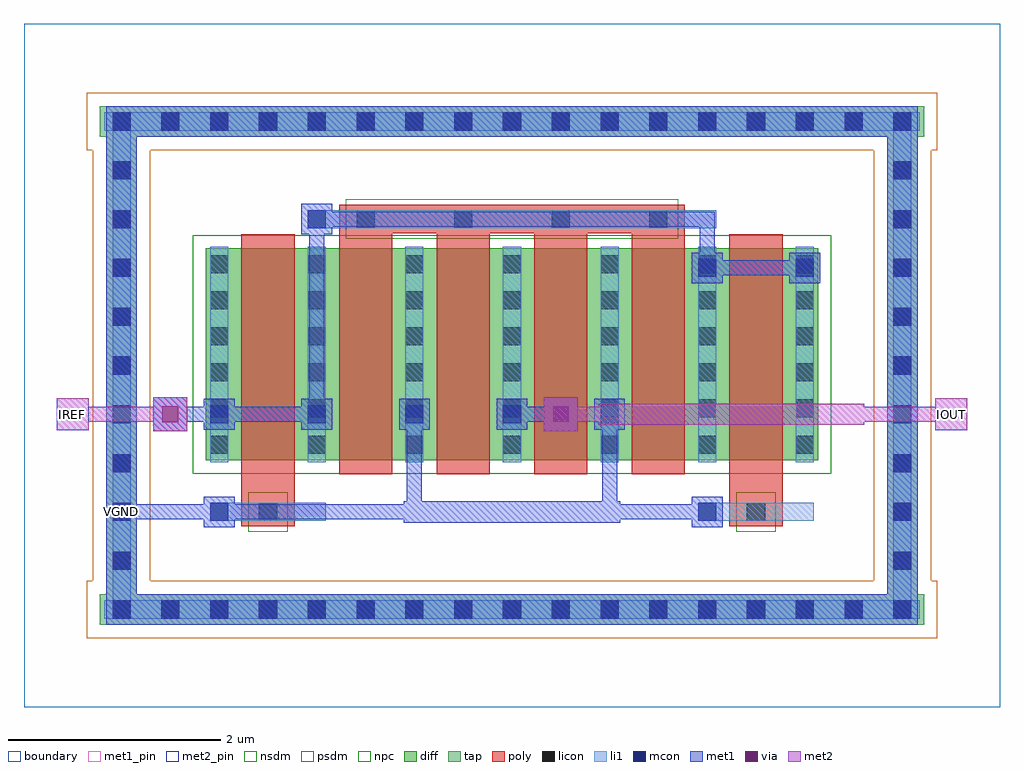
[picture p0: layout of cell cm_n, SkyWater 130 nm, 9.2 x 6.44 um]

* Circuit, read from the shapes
.subckt cm_n IOUT IREF VGND
XM1 IREF VGND IREF VGND sky130_fd_pr__nfet_01v8 w=2 l=0.5 m=2
XM2 VGND IREF IREF VGND sky130_fd_pr__nfet_01v8 w=2 l=0.5 m=2
XM3 IOUT IREF VGND VGND sky130_fd_pr__nfet_01v8 w=2 l=0.5 m=2
.ends

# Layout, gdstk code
import gdstk
lib = gdstk.Library(unit=1e-6, precision=1e-09)
def R(c, l, rs):  # rectangles x0, y0, x1, y1
    for r in rs: c.add(gdstk.rectangle(r[:2], r[2:], *l))
def A(c, l, x, y, w, h, nx, ny, dx, dy):  # array of equal rectangles
    R(c, l, [(x+i*dx, y+j*dy, x+i*dx+w, y+j*dy+h) for i in range(nx) for j in range(ny)])
diff = (65, 20)
tap = (65, 44)
poly = (66, 20)
licon = (66, 44)
li1 = (67, 20)
mcon = (67, 44)
met1_pin = (68, 16)
met1 = (68, 20)
via = (68, 44)
met2_pin = (69, 16)
met2 = (69, 20)
nsdm = (93, 44)
psdm = (94, 20)
npc = (95, 20)
boundary = (235, 4)

cm_n = lib.new_cell('cm_n')
R(cm_n, diff, [(1.715,2.325,7.485,4.325)])
R(cm_n, tap, [(0.715,0.775,8.485,1.065), (0.775,0.775,1.065,5.665), (8.135,0.775,8.425,5.665), (0.715,5.375,8.485,5.665)])
A(cm_n, poly, 2.97, 2.195, 0.5, 2.405, 4, 1, 0.92, 0)
R(cm_n, poly, [(2.05,1.705,2.55,1.975), (6.65,1.705,7.15,1.975), (2.05,1.84,2.55,4.455), (6.65,1.84,7.15,4.455), (2.97,4.465,6.23,4.735)])
A(cm_n, licon, 0.835, 0.835, 0.17, 0.17, 17, 2, 0.46, 4.6)
A(cm_n, licon, 0.835, 1.295, 0.17, 0.17, 1, 9, 0, 0.46)
A(cm_n, licon, 8.195, 1.295, 0.17, 0.17, 1, 9, 0, 0.46)
A(cm_n, licon, 1.755, 2.39, 0.17, 0.17, 7, 6, 0.92, 0.34)
A(cm_n, licon, 3.135, 4.515, 0.17, 0.17, 4, 1, 0.92, 0)
R(cm_n, licon, [(2.215,1.755,2.385,1.925), (6.815,1.755,6.985,1.925)])
A(cm_n, li1, 1.755, 2.31, 0.17, 2.03, 7, 1, 0.92, 0)
R(cm_n, li1, [(0.755,0.835,8.445,1.005), (0.835,0.835,1.005,5.605), (8.195,0.835,8.365,5.605), (1.755,1.755,2.845,1.925), (6.355,1.755,7.445,1.925), (2.675,4.515,6.525,4.685), (0.755,5.435,8.445,5.605)])
A(cm_n, mcon, 0.835, 0.835, 0.17, 0.17, 17, 2, 0.46, 4.6)
A(cm_n, mcon, 0.835, 1.295, 0.17, 0.17, 1, 3, 0, 0.46)
A(cm_n, mcon, 8.195, 1.295, 0.17, 0.17, 1, 6, 0, 0.46)
A(cm_n, mcon, 0.835, 2.675, 0.17, 0.17, 6, 1, 0.92, 0)
A(cm_n, mcon, 0.835, 3.135, 0.17, 0.17, 1, 5, 0, 0.46)
A(cm_n, mcon, 6.355, 4.055, 0.17, 0.17, 3, 1, 0.92, 0)
R(cm_n, mcon, [(1.755,1.755,1.925,1.925), (6.355,1.755,6.525,1.925), (2.675,4.515,2.845,4.685), (8.195,4.515,8.365,4.685), (8.195,4.975,8.365,5.145)])
R(cm_n, met1_pin, [(0.85,1.77,0.99,1.91)])
A(cm_n, met1, 1.695, 2.615, 0.29, 0.29, 5, 1, 0.92, 0)
R(cm_n, met1, [(0.775,0.775,8.425,1.065), (0.775,0.775,1.065,5.665), (8.135,0.775,8.425,5.665), (1.695,1.695,1.985,1.985), (6.295,1.695,6.585,1.985), (3.58,1.74,5.62,1.94), (0.85,1.77,1.91,1.91), (0.85,1.77,0.99,1.91), (0.85,1.77,0.99,5.59), (1.77,1.77,3.75,1.91), (3.61,1.77,3.75,2.83), (5.45,1.77,6.51,1.91), (5.45,1.77,5.59,2.83), (1.22,2.6,1.54,2.92), (4.9,2.6,5.22,2.92), (1.31,2.69,1.91,2.83), (1.77,2.69,2.83,2.83), (2.69,2.69,2.83,4.67), (4.53,2.69,5.13,2.83), (6.295,3.995,6.585,4.285), (7.215,3.995,7.505,4.285), (6.37,4.07,7.43,4.21), (6.37,4.07,6.51,4.67), (2.615,4.455,2.905,4.745), (2.69,4.53,6.51,4.67), (0.775,5.375,8.425,5.665), (0.85,5.45,0.99,5.59)])
R(cm_n, via, [(1.305,2.685,1.455,2.835), (4.985,2.685,5.135,2.835)])
R(cm_n, met2_pin, [(0.31,2.61,0.61,2.91), (8.59,2.61,8.89,2.91)])
R(cm_n, met2, [(1.22,2.6,1.54,2.92), (4.9,2.6,5.22,2.92), (0.31,2.61,0.61,2.91), (8.59,2.61,8.89,2.91), (5.42,2.66,7.92,2.86), (0.39,2.69,0.53,2.83), (0.39,2.69,1.45,2.83), (4.99,2.69,5.59,2.83), (7.75,2.69,8.81,2.83), (8.67,2.69,8.81,2.83)])
R(cm_n, nsdm, [(1.59,2.2,7.61,4.45)])
R(cm_n, psdm, [(0.59,0.65,8.61,1.19), (0.65,1.19,1.19,5.25), (8.01,1.19,8.55,5.25), (0.59,5.25,8.61,5.79)])
R(cm_n, npc, [(2.115,1.655,2.485,2.025), (6.715,1.655,7.085,2.025), (3.035,4.415,6.165,4.785)])
R(cm_n, boundary, [(0,0,9.2,6.44)])
cm_n.add(gdstk.Label('VGND', (0.92,1.84), layer=68, texttype=5))
cm_n.add(gdstk.Label('IREF', (0.46,2.76), layer=69, texttype=5))
cm_n.add(gdstk.Label('IOUT', (8.74,2.76), layer=69, texttype=5))
cm_n.add(gdstk.Label('VGND', (0.92,1.84), layer=68, texttype=16))
cm_n.add(gdstk.Label('IREF', (0.46,2.76), layer=69, texttype=16))
cm_n.add(gdstk.Label('IOUT', (8.74,2.76), layer=69, texttype=16))

lib.write_gds('cm_n.gds')
